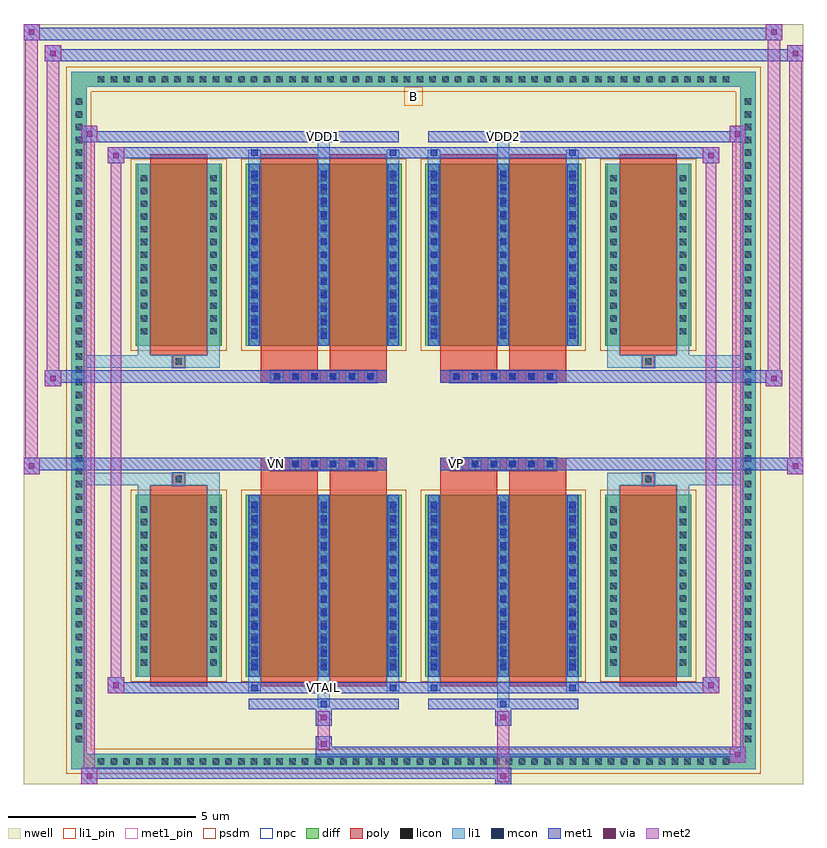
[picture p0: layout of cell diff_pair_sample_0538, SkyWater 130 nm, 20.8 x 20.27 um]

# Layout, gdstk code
import gdstk
lib = gdstk.Library(unit=1e-6, precision=5e-09)
def R(c, l, rs):  # rectangles x0, y0, x1, y1
    for r in rs: c.add(gdstk.rectangle(r[:2], r[2:], *l))
def A(c, l, x, y, w, h, nx, ny, dx, dy):  # array of equal rectangles
    R(c, l, [(x+i*dx, y+j*dy, x+i*dx+w, y+j*dy+h) for i in range(nx) for j in range(ny)])
def P(c, l, *ps):  # polygons
    for p in ps: c.add(gdstk.Polygon(p, *l))
nwell = (64, 20)
diff = (65, 20)
poly = (66, 20)
licon = (66, 44)
li1_pin = (67, 16)
li1 = (67, 20)
mcon = (67, 44)
met1_pin = (68, 16)
met1 = (68, 20)
via = (68, 44)
met2 = (69, 20)
psdm = (94, 20)
npc = (95, 20)

diff_pair_sample_0538 = lib.new_cell('diff_pair_sample_0538')
R(diff_pair_sample_0538, nwell, [(-10.4,-9.7,10.4,10.57), (-7.72,-7.89,-0.01,-0.805), (0.01,-7.89,7.72,-0.805), (-7.72,0.805,-0.01,7.89), (0.01,0.805,7.72,7.89)])
A(diff_pair_sample_0538, diff, -8.535, -9.3, 0.41, 0.41, 50, 2, 0.34, 18.19)
A(diff_pair_sample_0538, diff, -9.13, -8.705, 0.41, 0.41, 1, 51, 0, 0.34)
A(diff_pair_sample_0538, diff, 8.72, -8.705, 0.41, 0.41, 1, 51, 0, 0.34)
R(diff_pair_sample_0538, diff, [(-8.535,-9.3,8.535,-8.89), (-9.13,-8.705,-8.72,8.705), (8.72,-8.705,9.13,8.705), (-7.41,-6.845,-5.11,-1.985), (-4.47,-6.845,-0.32,-1.985), (0.32,-6.845,4.47,-1.985), (5.11,-6.845,7.41,-1.985), (-7.41,1.985,-5.11,6.845), (-4.47,1.985,-0.32,6.845), (0.32,1.985,4.47,6.845), (5.11,1.985,7.41,6.845), (-8.535,8.89,8.535,9.3)])
P(diff_pair_sample_0538, diff, [(9.13,9.3),(-9.13,9.3),(-9.13,-8.89),(-8.72,-8.89),(-8.72,8.89),(8.72,8.89),(8.72,-8.89),(-8.72,-8.89),(-9.13,-8.89),(-9.13,-9.3),(9.13,-9.3)])
A(diff_pair_sample_0538, poly, -3.81, -1.335, 0.33, 0.33, 6, 2, 0.5, 2.34)
A(diff_pair_sample_0538, poly, 0.98, -1.335, 0.33, 0.33, 6, 2, 0.5, 2.34)
R(diff_pair_sample_0538, poly, [(-7.02,-7.095,-5.5,-1.735), (-4.08,-7.095,-2.56,-1.735), (-2.23,-7.095,-0.71,-1.735), (0.71,-7.095,2.23,-1.735), (2.56,-7.095,4.08,-1.735), (5.5,-7.095,7.02,-1.735), (-6.425,-1.735,-6.095,-1.405), (-6.425,-1.735,-6.095,-1.405), (-4.08,-1.735,-2.56,-1.335), (-2.23,-1.735,-0.71,-1.335), (0.71,-1.735,2.23,-1.335), (2.56,-1.735,4.08,-1.335), (6.095,-1.735,6.425,-1.405), (6.095,-1.735,6.425,-1.405), (-4.08,-1.335,-0.71,-1.005), (0.71,-1.335,4.08,-1.005), (-4.08,1.005,-0.71,1.335), (0.71,1.005,4.08,1.335), (-4.08,1.335,-2.56,1.735), (-2.23,1.335,-0.71,1.735), (0.71,1.335,2.23,1.735), (2.56,1.335,4.08,1.735), (-6.425,1.405,-6.095,1.735), (-6.425,1.405,-6.095,1.735), (6.095,1.405,6.425,1.735), (6.095,1.405,6.425,1.735), (-7.02,1.735,-5.5,7.095), (-4.08,1.735,-2.56,7.095), (-2.23,1.735,-0.71,7.095), (0.71,1.735,2.23,7.095), (2.56,1.735,4.08,7.095), (5.5,1.735,7.02,7.095)])
A(diff_pair_sample_0538, licon, -8.415, -9.18, 0.17, 0.17, 50, 2, 0.34, 18.19)
A(diff_pair_sample_0538, licon, -9.01, -8.585, 0.17, 0.17, 1, 51, 0, 0.34)
A(diff_pair_sample_0538, licon, 8.84, -8.585, 0.17, 0.17, 1, 51, 0, 0.34)
A(diff_pair_sample_0538, licon, -7.27, -6.54, 0.17, 0.17, 1, 13, 0, 0.34)
A(diff_pair_sample_0538, licon, -5.42, -6.54, 0.17, 0.17, 1, 13, 0, 0.34)
A(diff_pair_sample_0538, licon, -4.33, -6.54, 0.17, 0.17, 3, 13, 1.85, 0.34)
A(diff_pair_sample_0538, licon, 0.46, -6.54, 0.17, 0.17, 3, 13, 1.85, 0.34)
A(diff_pair_sample_0538, licon, 5.25, -6.54, 0.17, 0.17, 1, 13, 0, 0.34)
A(diff_pair_sample_0538, licon, 7.1, -6.54, 0.17, 0.17, 1, 13, 0, 0.34)
A(diff_pair_sample_0538, licon, -3.73, -1.255, 0.17, 0.17, 6, 2, 0.5, 2.34)
A(diff_pair_sample_0538, licon, 1.06, -1.255, 0.17, 0.17, 6, 2, 0.5, 2.34)
A(diff_pair_sample_0538, licon, -7.27, 2.29, 0.17, 0.17, 1, 13, 0, 0.34)
A(diff_pair_sample_0538, licon, -5.42, 2.29, 0.17, 0.17, 1, 13, 0, 0.34)
A(diff_pair_sample_0538, licon, -4.33, 2.29, 0.17, 0.17, 3, 13, 1.85, 0.34)
A(diff_pair_sample_0538, licon, 0.46, 2.29, 0.17, 0.17, 3, 13, 1.85, 0.34)
A(diff_pair_sample_0538, licon, 5.25, 2.29, 0.17, 0.17, 1, 13, 0, 0.34)
A(diff_pair_sample_0538, licon, 7.1, 2.29, 0.17, 0.17, 1, 13, 0, 0.34)
R(diff_pair_sample_0538, licon, [(-6.345,-1.655,-6.175,-1.485), (6.175,-1.655,6.345,-1.485), (-6.345,1.485,-6.175,1.655), (6.175,1.485,6.345,1.655)])
R(diff_pair_sample_0538, li1_pin, [(-0.25,8.39,0.25,8.89)])
A(diff_pair_sample_0538, li1, -8.495, -9.26, 0.33, 0.33, 50, 2, 0.34, 18.19)
A(diff_pair_sample_0538, li1, -9.09, -8.665, 0.33, 0.33, 1, 51, 0, 0.34)
A(diff_pair_sample_0538, li1, 8.76, -8.665, 0.33, 0.33, 1, 51, 0, 0.34)
A(diff_pair_sample_0538, li1, -4.41, -6.845, 0.33, 4.86, 3, 2, 1.85, 8.83)
A(diff_pair_sample_0538, li1, 0.38, -6.845, 0.33, 4.86, 3, 2, 1.85, 8.83)
A(diff_pair_sample_0538, li1, -4.33, -6.66, 0.17, 0.17, 3, 13, 1.85, 0.36)
A(diff_pair_sample_0538, li1, -4.33, -6.66, 0.17, 4.49, 3, 2, 1.85, 8.83)
A(diff_pair_sample_0538, li1, 0.46, -6.66, 0.17, 0.17, 3, 13, 1.85, 0.36)
A(diff_pair_sample_0538, li1, 0.46, -6.66, 0.17, 4.49, 3, 2, 1.85, 8.83)
A(diff_pair_sample_0538, li1, -7.35, -6.62, 0.33, 0.33, 1, 13, 0, 0.34)
A(diff_pair_sample_0538, li1, -5.5, -6.62, 0.33, 0.33, 1, 13, 0, 0.34)
A(diff_pair_sample_0538, li1, -4.41, -6.62, 0.33, 0.33, 3, 13, 1.85, 0.34)
A(diff_pair_sample_0538, li1, 0.38, -6.62, 0.33, 0.33, 3, 13, 1.85, 0.34)
A(diff_pair_sample_0538, li1, 5.17, -6.62, 0.33, 0.33, 1, 13, 0, 0.34)
A(diff_pair_sample_0538, li1, 7.02, -6.62, 0.33, 0.33, 1, 13, 0, 0.34)
A(diff_pair_sample_0538, li1, -3.81, -1.335, 0.33, 0.33, 6, 2, 0.5, 2.34)
A(diff_pair_sample_0538, li1, 0.98, -1.335, 0.33, 0.33, 6, 2, 0.5, 2.34)
A(diff_pair_sample_0538, li1, -4.33, 2.17, 0.17, 0.17, 3, 13, 1.85, 0.36)
A(diff_pair_sample_0538, li1, 0.46, 2.17, 0.17, 0.17, 3, 13, 1.85, 0.36)
A(diff_pair_sample_0538, li1, -7.35, 2.21, 0.33, 0.33, 1, 13, 0, 0.34)
A(diff_pair_sample_0538, li1, -5.5, 2.21, 0.33, 0.33, 1, 13, 0, 0.34)
A(diff_pair_sample_0538, li1, -4.41, 2.21, 0.33, 0.33, 3, 13, 1.85, 0.34)
A(diff_pair_sample_0538, li1, 0.38, 2.21, 0.33, 0.33, 3, 13, 1.85, 0.34)
A(diff_pair_sample_0538, li1, 5.17, 2.21, 0.33, 0.33, 1, 13, 0, 0.34)
A(diff_pair_sample_0538, li1, 7.02, 2.21, 0.33, 0.33, 1, 13, 0, 0.34)
R(diff_pair_sample_0538, li1, [(-9.13,-9.3,-8.72,-8.89), (-9.13,-9.3,-8.72,-8.89), (-8.72,-9.3,8.72,-8.89), (8.72,-9.3,9.13,-8.89), (8.72,-9.3,9.13,-8.89), (-9.13,-8.89,-8.72,8.89), (8.72,-8.89,9.13,8.89), (-2.56,-7.65,-2.23,-6.845), (-2.48,-7.65,-2.31,-7.48), (2.23,-7.65,2.56,-6.845), (2.31,-7.65,2.48,-7.48), (-4.41,-7.22,-4.08,-6.845), (-4.33,-7.22,-4.16,-7.05), (-0.71,-7.22,-0.38,-6.845), (-0.63,-7.22,-0.46,-7.05), (0.38,-7.22,0.71,-6.845), (0.46,-7.22,0.63,-7.05), (4.08,-7.22,4.41,-6.845), (4.16,-7.22,4.33,-7.05), (-7.35,-6.845,-7.02,-1.985), (-5.5,-6.845,-5.17,-1.985), (5.17,-6.845,5.5,-1.985), (7.02,-6.845,7.35,-1.985), (-7.35,-1.985,-7.02,-1.405), (-5.5,-1.985,-5.17,-1.405), (5.17,-1.985,5.5,-1.405), (7.02,-1.985,7.35,-1.405), (-9.13,-1.735,-6.425,-1.405), (-7.35,-1.735,-6.425,-1.405), (-6.425,-1.735,-6.095,-1.405), (-6.095,-1.735,-5.17,-1.405), (5.17,-1.735,6.095,-1.405), (6.095,-1.735,6.425,-1.405), (6.095,-1.735,9.13,-1.405), (6.425,-1.735,7.35,-1.405), (-9.13,1.405,-6.425,1.735), (-7.35,1.405,-6.425,1.735), (-7.35,1.405,-7.02,1.985), (-6.425,1.405,-6.095,1.735), (-6.095,1.405,-5.17,1.735), (-5.5,1.405,-5.17,1.985), (5.17,1.405,6.095,1.735), (5.17,1.405,5.5,1.985), (6.095,1.405,6.425,1.735), (6.095,1.405,9.13,1.735), (6.425,1.405,7.35,1.735), (7.02,1.405,7.35,1.985), (-7.35,1.985,-7.02,6.845), (-5.5,1.985,-5.17,6.845), (5.17,1.985,5.5,6.845), (7.02,1.985,7.35,6.845), (-4.41,6.845,-4.08,7.22), (-2.56,6.845,-2.23,7.65), (-0.71,6.845,-0.38,7.22), (0.38,6.845,0.71,7.22), (2.23,6.845,2.56,7.65), (4.08,6.845,4.41,7.22), (-4.33,7.05,-4.16,7.22), (-0.63,7.05,-0.46,7.22), (0.46,7.05,0.63,7.22), (4.16,7.05,4.33,7.22), (-2.48,7.48,-2.31,7.65), (2.31,7.48,2.48,7.65), (-9.13,8.89,-8.72,9.3), (-9.13,8.89,-8.72,9.3), (-8.72,8.89,8.72,9.3), (8.72,8.89,9.13,9.3), (8.72,8.89,9.13,9.3)])
A(diff_pair_sample_0538, mcon, -4.33, -6.66, 0.17, 0.17, 3, 13, 1.85, 0.36)
A(diff_pair_sample_0538, mcon, 0.46, -6.66, 0.17, 0.17, 3, 13, 1.85, 0.36)
A(diff_pair_sample_0538, mcon, -3.73, -1.255, 0.17, 0.17, 6, 2, 0.5, 2.34)
A(diff_pair_sample_0538, mcon, 1.06, -1.255, 0.17, 0.17, 6, 2, 0.5, 2.34)
A(diff_pair_sample_0538, mcon, -4.33, 2.17, 0.17, 0.17, 3, 13, 1.85, 0.36)
A(diff_pair_sample_0538, mcon, 0.46, 2.17, 0.17, 0.17, 3, 13, 1.85, 0.36)
R(diff_pair_sample_0538, mcon, [(-2.48,-7.65,-2.31,-7.48), (2.31,-7.65,2.48,-7.48), (-4.33,-7.22,-4.16,-7.05), (-0.63,-7.22,-0.46,-7.05), (0.46,-7.22,0.63,-7.05), (4.16,-7.22,4.33,-7.05), (-4.33,7.05,-4.16,7.22), (-0.63,7.05,-0.46,7.22), (0.46,7.05,0.63,7.22), (4.16,7.05,4.33,7.22), (-2.48,7.48,-2.31,7.65), (2.31,7.48,2.48,7.65)])
R(diff_pair_sample_0538, met1_pin, [(-2.53,-7.26,-2.26,-6.99), (-3.78,-1.295,-3.51,-1.025), (1.01,-1.295,1.28,-1.025), (-2.53,7.44,-2.26,7.71), (2.26,7.44,2.53,7.71)])
A(diff_pair_sample_0538, met1, -4.39, -6.845, 0.29, 4.86, 3, 2, 1.85, 8.83)
A(diff_pair_sample_0538, met1, 0.4, -6.845, 0.29, 4.86, 3, 2, 1.85, 8.83)
A(diff_pair_sample_0538, met1, -4.39, -6.72, 0.29, 0.29, 3, 13, 1.85, 0.36)
A(diff_pair_sample_0538, met1, 0.4, -6.72, 0.29, 0.29, 3, 13, 1.85, 0.36)
A(diff_pair_sample_0538, met1, -3.79, -1.315, 0.29, 0.29, 6, 2, 0.5, 2.34)
A(diff_pair_sample_0538, met1, 1, -1.315, 0.29, 0.29, 6, 2, 0.5, 2.34)
A(diff_pair_sample_0538, met1, -4.39, 2.11, 0.29, 0.29, 3, 13, 1.85, 0.36)
A(diff_pair_sample_0538, met1, 0.4, 2.11, 0.29, 0.29, 3, 13, 1.85, 0.36)
R(diff_pair_sample_0538, met1, [(-8.86,-9.7,-8.43,-9.27), (2.18,-9.7,2.61,-9.27), (-8.86,-9.56,2.61,-9.27), (8.43,-9.13,8.86,-8.7), (-2.61,-8.99,8.86,-8.7), (-2.61,-8.85,-2.18,-8.42), (-2.61,-8.14,-2.18,-7.71), (2.18,-8.14,2.61,-7.71), (-4.39,-7.71,-0.4,-7.42), (-2.54,-7.71,-2.25,-7.42), (0.4,-7.71,4.39,-7.42), (2.25,-7.71,2.54,-7.42), (-8.15,-7.28,-7.72,-6.85), (-8.15,-7.28,-4.39,-6.99), (-4.39,-7.28,-4.1,-6.99), (-4.39,-7.28,-0.4,-6.99), (-0.69,-7.28,-0.4,-6.99), (-0.4,-7.28,0.4,-6.99), (0.4,-7.28,0.69,-6.99), (0.4,-7.28,4.39,-6.99), (4.1,-7.28,4.39,-6.99), (4.39,-7.28,8.15,-6.99), (7.72,-7.28,8.15,-6.85), (-10.4,-1.435,-9.97,-1.005), (9.97,-1.435,10.4,-1.005), (-10.4,-1.335,-0.71,-1.005), (-4.08,-1.335,-0.71,-1.005), (0.71,-1.335,4.08,-1.005), (0.71,-1.335,10.4,-1.005), (-9.83,0.905,-9.4,1.335), (9.4,0.905,9.83,1.335), (-9.83,1.005,-4.08,1.335), (-4.08,1.005,-0.71,1.335), (0.71,1.005,4.08,1.335), (4.08,1.005,9.83,1.335), (-8.15,6.85,-7.72,7.28), (7.72,6.85,8.15,7.28), (-8.15,6.99,-4.39,7.28), (-4.39,6.99,-4.1,7.28), (-4.39,6.99,-0.4,7.28), (-0.69,6.99,-0.4,7.28), (-0.4,6.99,0.4,7.28), (0.4,6.99,0.69,7.28), (0.4,6.99,4.39,7.28), (4.1,6.99,4.39,7.28), (4.39,6.99,8.15,7.28), (-8.86,7.42,-8.43,7.85), (-8.86,7.42,-4.39,7.71), (-4.39,7.42,-0.4,7.71), (-2.54,7.42,-2.25,7.71), (0.4,7.42,4.39,7.71), (2.25,7.42,2.54,7.71), (4.39,7.42,8.86,7.71), (8.43,7.42,8.86,7.85), (-9.83,9.57,-9.4,10), (-9.83,9.57,-7.72,9.9), (-7.72,9.57,7.72,9.9), (7.72,9.57,10.4,9.9), (9.97,9.57,10.4,10), (-10.4,10.14,-9.97,10.57), (-10.4,10.14,-7.72,10.47), (-7.72,10.14,7.72,10.47), (7.72,10.14,9.83,10.47), (9.4,10.14,9.83,10.57)])
R(diff_pair_sample_0538, via, [(-8.72,-9.56,-8.57,-9.41), (2.32,-9.56,2.47,-9.41), (8.57,-8.99,8.72,-8.84), (-2.47,-8.71,-2.32,-8.56), (-2.47,-8,-2.32,-7.85), (2.32,-8,2.47,-7.85), (-8.01,-7.14,-7.86,-6.99), (7.86,-7.14,8.01,-6.99), (-10.26,-1.295,-10.11,-1.145), (10.11,-1.295,10.26,-1.145), (-9.69,1.045,-9.54,1.195), (9.54,1.045,9.69,1.195), (-8.01,6.99,-7.86,7.14), (7.86,6.99,8.01,7.14), (-8.72,7.56,-8.57,7.71), (8.57,7.56,8.72,7.71), (-9.69,9.71,-9.54,9.86), (10.11,9.71,10.26,9.86), (-10.26,10.28,-10.11,10.43), (9.54,10.28,9.69,10.43)])
R(diff_pair_sample_0538, met2, [(-8.86,-9.7,-8.43,-9.27), (-8.79,-9.7,-8.5,7.85), (-8.5,-9.7,-8.43,-9.27), (-8.81,-9.65,-8.48,-9.32), (2.23,-9.65,2.56,-9.32), (2.23,-9.32,2.56,-8.09), (8.43,-9.13,8.86,-8.7), (8.5,-9.13,8.79,7.85), (8.79,-9.13,8.86,-8.7), (8.48,-9.08,8.81,-8.75), (-2.56,-8.8,-2.23,-8.47), (-2.56,-8.47,-2.23,-8.09), (-2.56,-8.09,-2.23,-7.76), (2.23,-8.09,2.56,-7.76), (-8.15,-7.28,-7.72,-6.85), (-8.08,-7.28,-7.79,7.28), (-7.79,-7.28,-7.72,-6.85), (7.72,-7.28,8.15,-6.85), (7.79,-7.28,8.08,7.28), (8.08,-7.28,8.15,-6.85), (-8.1,-7.23,-7.77,-6.9), (7.77,-7.23,8.1,-6.9), (-10.4,-1.435,-9.97,-1.005), (-10.35,-1.435,-10.02,10.57), (-10.02,-1.435,-9.97,-1.005), (9.97,-1.435,10.4,-1.005), (10.02,-1.435,10.35,10), (10.35,-1.435,10.4,-1.005), (-10.35,-1.385,-10.02,-1.055), (10.02,-1.385,10.35,-1.055), (-9.83,0.905,-9.4,1.335), (-9.78,0.905,-9.45,10), (-9.45,0.905,-9.4,1.335), (9.4,0.905,9.83,1.335), (9.45,0.905,9.78,10.57), (9.78,0.905,9.83,1.335), (-9.78,0.955,-9.45,1.285), (9.45,0.955,9.78,1.285), (-8.15,6.85,-7.72,7.28), (-7.79,6.85,-7.72,7.28), (7.72,6.85,8.15,7.28), (8.08,6.85,8.15,7.28), (-8.1,6.9,-7.77,7.23), (7.77,6.9,8.1,7.23), (-8.86,7.42,-8.43,7.85), (-8.5,7.42,-8.43,7.85), (8.43,7.42,8.86,7.85), (8.79,7.42,8.86,7.85), (-8.81,7.47,-8.48,7.8), (8.48,7.47,8.81,7.8), (-9.83,9.57,-9.4,10), (-9.45,9.57,-9.4,10), (9.97,9.57,10.4,10), (10.35,9.57,10.4,10), (-9.78,9.62,-9.45,9.95), (10.02,9.62,10.35,9.95), (-10.4,10.14,-9.97,10.57), (-10.02,10.14,-9.97,10.57), (9.4,10.14,9.83,10.57), (9.78,10.14,9.83,10.57), (-10.35,10.19,-10.02,10.52), (9.45,10.19,9.78,10.52)])
R(diff_pair_sample_0538, psdm, [(-7.54,-6.975,-4.98,-1.855), (-4.6,-6.975,-0.19,-1.855), (0.19,-6.975,4.6,-1.855), (4.98,-6.975,7.54,-1.855), (-7.54,1.855,-4.98,6.975), (-4.6,1.855,-0.19,6.975), (0.19,1.855,4.6,6.975), (4.98,1.855,7.54,6.975)])
P(diff_pair_sample_0538, psdm, [(9.26,9.43),(-9.26,9.43),(-9.26,-8.76),(-8.59,-8.76),(-8.59,8.76),(8.59,8.76),(8.59,-8.76),(-8.59,-8.76),(-9.26,-8.76),(-9.26,-9.43),(9.26,-9.43)])
A(diff_pair_sample_0538, npc, -3.83, -1.355, 0.37, 0.37, 6, 2, 0.5, 2.34)
A(diff_pair_sample_0538, npc, 0.96, -1.355, 0.37, 0.37, 6, 2, 0.5, 2.34)
R(diff_pair_sample_0538, npc, [(-6.445,-1.755,-6.075,-1.385), (6.075,-1.755,6.445,-1.385), (-3.83,-1.355,-2.96,-0.985), (-3.83,-1.355,-2.96,-0.985), (-3.33,-1.355,-2.46,-0.985), (-3.33,-1.355,-2.46,-0.985), (-2.83,-1.355,-1.96,-0.985), (-2.83,-1.355,-1.96,-0.985), (-2.33,-1.355,-1.46,-0.985), (-2.33,-1.355,-1.46,-0.985), (-1.83,-1.355,-0.96,-0.985), (-1.83,-1.355,-0.96,-0.985), (0.96,-1.355,1.83,-0.985), (0.96,-1.355,1.83,-0.985), (1.46,-1.355,2.33,-0.985), (1.46,-1.355,2.33,-0.985), (1.96,-1.355,2.83,-0.985), (1.96,-1.355,2.83,-0.985), (2.46,-1.355,3.33,-0.985), (2.46,-1.355,3.33,-0.985), (2.96,-1.355,3.83,-0.985), (2.96,-1.355,3.83,-0.985), (-3.83,0.985,-2.96,1.355), (-3.83,0.985,-2.96,1.355), (-3.33,0.985,-2.46,1.355), (-3.33,0.985,-2.46,1.355), (-2.83,0.985,-1.96,1.355), (-2.83,0.985,-1.96,1.355), (-2.33,0.985,-1.46,1.355), (-2.33,0.985,-1.46,1.355), (-1.83,0.985,-0.96,1.355), (-1.83,0.985,-0.96,1.355), (0.96,0.985,1.83,1.355), (0.96,0.985,1.83,1.355), (1.46,0.985,2.33,1.355), (1.46,0.985,2.33,1.355), (1.96,0.985,2.83,1.355), (1.96,0.985,2.83,1.355), (2.46,0.985,3.33,1.355), (2.46,0.985,3.33,1.355), (2.96,0.985,3.83,1.355), (2.96,0.985,3.83,1.355), (-6.445,1.385,-6.075,1.755), (6.075,1.385,6.445,1.755)])
diff_pair_sample_0538.add(gdstk.Label('VTAIL', (-2.395,-7.125), layer=68, texttype=5))
diff_pair_sample_0538.add(gdstk.Label('VN', (-3.645,-1.16), layer=68, texttype=5))
diff_pair_sample_0538.add(gdstk.Label('VP', (1.145,-1.16), layer=68, texttype=5))
diff_pair_sample_0538.add(gdstk.Label('B', (0,8.64), layer=67, texttype=5))
diff_pair_sample_0538.add(gdstk.Label('VDD2', (2.395,7.575), layer=68, texttype=5))
diff_pair_sample_0538.add(gdstk.Label('VDD1', (-2.395,7.575), layer=68, texttype=5))

lib.write_gds('diff_pair_sample_0538.gds')
